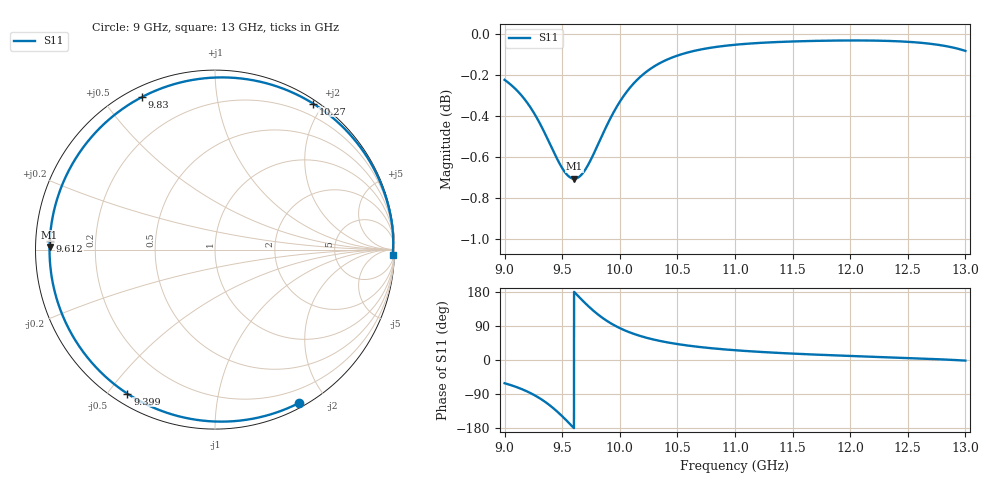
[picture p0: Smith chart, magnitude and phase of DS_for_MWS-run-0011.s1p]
! TOUCHSTONE file generated by CST DESIGN STUDIO
! Date and time: Tue Feb  4 16:23:02 2025
! Project name: C:\Work\MatlabApps\UnitCellOptimizationMatlab\CST\unitcell.cst
! Tree item: Tasks\Sweep1\SPara1\S-Parameters
! Header version: 2024
! Port assignment regex: !\s*Touchstone port\s*([0-9]+)\s*=\s*(CST MWS port|CST DES external port|CST DES block port)\s*(.+)\s* \(\"(.*)\"\)(\s*mode\s*([0-9]+))?.*
! Touchstone port assignment:
! Touchstone port 1 = CST DES external port 1 ("")
# GHz S MA R 50
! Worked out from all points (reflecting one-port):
!   4001 points, 9 GHz to 13 GHz, reference 50 ohm
!   lowest |S11| = -0.7 dB at 9.605 GHz (marker M1), VSWR 24.62, Z = 2.03 + j0.344 ohm
!   phase of S11 starts at -61 deg and turns -300 deg over the sweep
!   S11 on the Smith chart (normalised r, x): 9 GHz: 0.05, -1.69; 9.399 GHz: 0.04, -0.56; 9.612 GHz: 0.04, +0.03; 9.83 GHz: 0.04, +0.63; 10.27 GHz: 0.04, +1.88; 13 GHz: 22, -64
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9  0.9744 -61.3
9.054  0.9718 -66.3
9.125  0.9675 -73.9
9.187  0.9628 -81.8
9.247  0.9573 -90.8
9.328  0.9483 -105.6
9.399  0.9394 -121.3
9.449  0.9331 -134.0
9.5  0.9274 -148.4
9.554  0.9233 -164.7
9.605  0.9219 179.2
9.612  0.922 177.0
9.667  0.924 159.8
9.728  0.9295 141.7
9.779  0.9356 127.9
9.83  0.9424 115.6
9.908  0.9524 99.4
10  0.9625 84.1
10.124  0.9727 68.7
10.265  0.9804 56.1
10.375  0.9845 48.7
10.5  0.9877 42.0
10.72  0.9913 33.4
11  0.9937 25.8
11.5  0.9956 16.9
12  0.9961 10.7
12.5  0.9954 5.3
13  0.9903 -1.6
